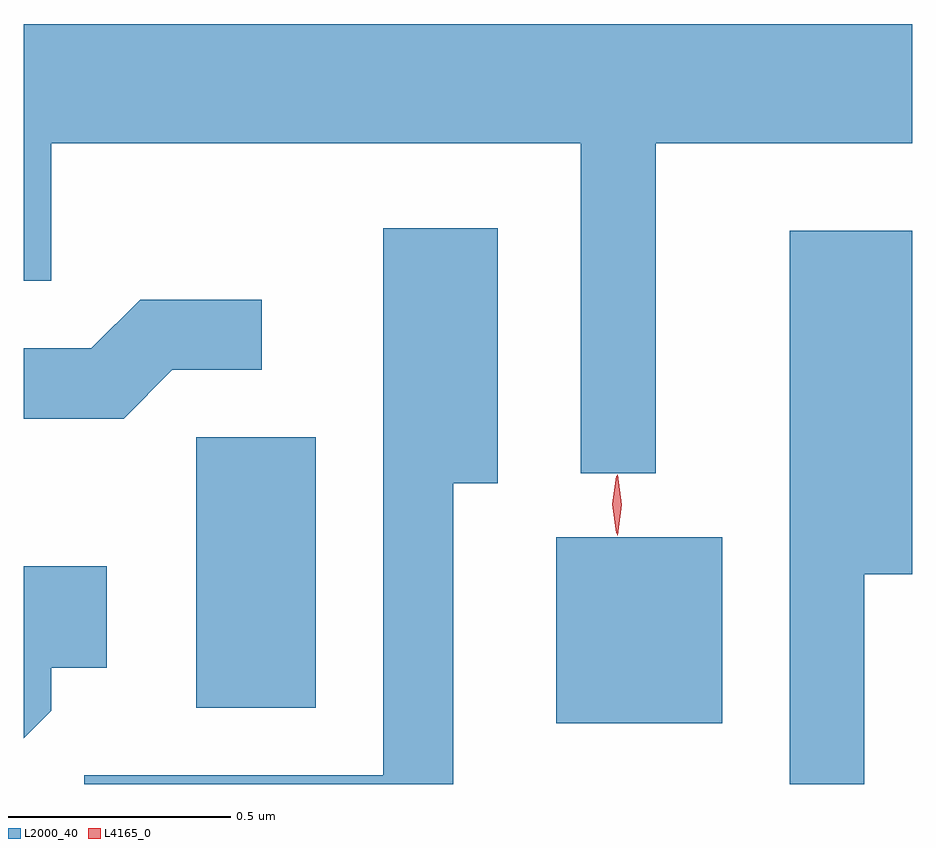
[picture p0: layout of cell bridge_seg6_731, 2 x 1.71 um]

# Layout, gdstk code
import gdstk
lib = gdstk.Library(unit=1e-6, precision=1e-09)
def R(c, l, rs):  # rectangles x0, y0, x1, y1
    for r in rs: c.add(gdstk.rectangle(r[:2], r[2:], *l))
def P(c, l, *ps):  # polygons
    for p in ps: c.add(gdstk.Polygon(p, *l))
L2000_40 = (2000, 40)
L4165_0 = (4165, 0)

bridge_seg6_731 = lib.new_cell('bridge_seg6_731')
R(bridge_seg6_731, L2000_40, [(245.266,1544.291,245.639,1544.709), (244.456,1544.326,244.724,1544.934)])
P(bridge_seg6_731, L2000_40, [(245.489,1545.596),(246.067,1545.596),(246.067,1545.864),(244.067,1545.864),(244.067,1545.286),(244.129,1545.286),(244.129,1545.596),(245.321,1545.596),(245.321,1544.853),(245.489,1544.853)],
  [(245.034,1544.831),(245.134,1544.831),(245.134,1545.404),(244.876,1545.404),(244.876,1544.174),(244.203,1544.174),(244.203,1544.154),(245.034,1544.154)],
  [(245.959,1544.626),(246.067,1544.626),(246.067,1545.399),(245.791,1545.399),(245.791,1544.154),(245.959,1544.154)],
  [(244.402,1545.086),(244.603,1545.086),(244.603,1545.244),(244.329,1545.244),(244.219,1545.134),(244.067,1545.134),(244.067,1544.976),(244.292,1544.976)],
  [(244.129,1544.319),(244.129,1544.416),(244.254,1544.416),(244.254,1544.644),(244.067,1544.644),(244.067,1544.257)])
P(bridge_seg6_731, L4165_0, [(245.403,1544.714),(245.403,1544.714),(245.394,1544.782),(245.403,1544.85),(245.403,1544.85),(245.404,1544.85),(245.413,1544.782),(245.404,1544.714)],
  [(245.401,1544.718),(245.4,1544.719),(245.391,1544.783),(245.401,1544.847),(245.402,1544.847),(245.402,1544.847),(245.412,1544.783),(245.401,1544.719)])

lib.write_gds('bridge_seg6_731.gds')
